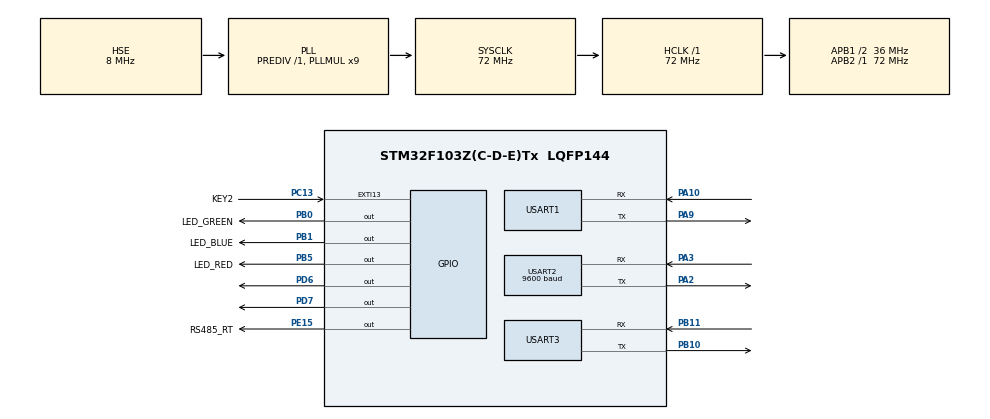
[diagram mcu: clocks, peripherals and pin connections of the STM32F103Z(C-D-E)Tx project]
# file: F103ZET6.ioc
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Mcu.Family=STM32F1
Mcu.Name=STM32F103Z(C-D-E)Tx
Mcu.Package=LQFP144
NVIC.PriorityGroup=NVIC_PRIORITYGROUP_2
NVIC.TIM7_IRQn=true\:1\:0\:true\:false\:true
NVIC.USART1_IRQn=true\:2\:1\:true\:false\:true
NVIC.USART2_IRQn=true\:1\:1\:true\:false\:true
NVIC.USART3_IRQn=true\:2\:1\:true\:false\:true
OSC_IN.Mode=HSE-External-Oscillator
OSC_IN.Signal=RCC_OSC_IN
OSC_OUT.Mode=HSE-External-Oscillator
OSC_OUT.Signal=RCC_OSC_OUT
PA10.Mode=Asynchronous
PA10.Signal=USART1_RX
PA13.Mode=Serial_Wire
PA13.Signal=SYS_JTMS-SWDIO
PA14.Mode=Serial_Wire
PA14.Signal=SYS_JTCK-SWCLK
PA2.Mode=Asynchronous
PA2.Signal=USART2_TX
PA3.Mode=Asynchronous
PA3.Signal=USART2_RX
PA9.Mode=Asynchronous
PA9.Signal=USART1_TX
PB0.GPIO_Label=LED_GREEN
PB0.GPIO_ModeDefaultOutputPP=GPIO_MODE_OUTPUT_PP
PB0.GPIO_Speed=GPIO_SPEED_FREQ_HIGH
PB0.PinState=GPIO_PIN_SET
PB0.Signal=GPIO_Output
PB1.GPIO_Label=LED_BLUE
PB1.GPIO_ModeDefaultOutputPP=GPIO_MODE_OUTPUT_PP
PB1.GPIO_Speed=GPIO_SPEED_FREQ_HIGH
PB1.PinState=GPIO_PIN_SET
PB1.Signal=GPIO_Output
PB10.Mode=Asynchronous
PB10.Signal=USART3_TX
PB11.Mode=Asynchronous
PB11.Signal=USART3_RX
PB5.GPIO_Label=LED_RED
PB5.GPIO_ModeDefaultOutputPP=GPIO_MODE_OUTPUT_PP
PB5.GPIO_Speed=GPIO_SPEED_FREQ_HIGH
PB5.PinState=GPIO_PIN_SET
PB5.Signal=GPIO_Output
PC13-TAMPER-RTC.GPIO_Label=KEY2
PC13-TAMPER-RTC.GPIO_ModeDefaultEXTI=GPIO_MODE_IT_FALLING
PC13-TAMPER-RTC.Signal=GPXTI13
PD6.GPIO_ModeDefaultOutputPP=GPIO_MODE_OUTPUT_OD
PD6.PinState=GPIO_PIN_SET
PD6.Signal=GPIO_Output
PD7.GPIO_ModeDefaultOutputPP=GPIO_MODE_OUTPUT_OD
PD7.PinState=GPIO_PIN_SET
PD7.Signal=GPIO_Output
PE15.GPIO_Label=RS485_RT
PE15.Signal=GPIO_Output
ProjectManager.HeapSize=0x800
ProjectManager.StackSize=0x1000
ProjectManager.TargetToolchain=MDK-ARM V5
RCC.AHBFreq_Value=72000000
RCC.APB1CLKDivider=RCC_HCLK_DIV2
RCC.APB1Freq_Value=36000000
RCC.APB1TimFreq_Value=72000000
RCC.APB2Freq_Value=72000000
RCC.APB2TimFreq_Value=72000000
RCC.HCLKFreq_Value=72000000
RCC.PLLMUL=RCC_PLL_MUL9
RCC.PLLSourceVirtual=RCC_PLLSOURCE_HSE
RCC.SYSCLKFreq_VALUE=72000000
RCC.SYSCLKSource=RCC_SYSCLKSOURCE_PLLCLK
RCC.USBFreq_Value=72000000
TIM7.Period=0
TIM7.Prescaler=3599
USART1.VirtualMode=VM_ASYNC
USART2.BaudRate=9600
USART2.VirtualMode=VM_ASYNC
USART3.VirtualMode=VM_ASYNC
VP_TIM7_VS_ClockSourceINT.Mode=Enable_Timer
board=F103ZET6

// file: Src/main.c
/**
  ******************************************************************************
  * File Name          : main.c
  * Description        : Main program body
  ******************************************************************************
  ** This notice applies to any and all portions of this file
  * that are not between comment pairs USER CODE BEGIN and
  * USER CODE END. Other portions of this file, whether
  * inserted by the user or by software development tools
  * are owned by their respective copyright owners.
  *
  * COPYRIGHT(c) 2017 STMicroelectronics
  *
  * Redistribution and use in source and binary forms, with or without modification,
  * are permitted provided that the following conditions are met:
  *   1. Redistributions of source code must retain the above copyright notice,
  *      this list of conditions and the following disclaimer.
  *   2. Redistributions in binary form must reproduce the above copyright notice,
  *      this list of conditions and the following disclaimer in the documentation
  *      and/or other materials provided with the distribution.
  *   3. Neither the name of STMicroelectronics nor the names of its contributors
  *      may be used to endorse or promote products derived from this software
  *      without specific prior written permission.
  *
  * THIS SOFTWARE IS PROVIDED BY THE COPYRIGHT HOLDERS AND CONTRIBUTORS "AS IS"
  * AND ANY EXPRESS OR IMPLIED WARRANTIES, INCLUDING, BUT NOT LIMITED TO, THE
  * IMPLIED WARRANTIES OF MERCHANTABILITY AND FITNESS FOR A PARTICULAR PURPOSE ARE
  * DISCLAIMED. IN NO EVENT SHALL THE COPYRIGHT HOLDER OR CONTRIBUTORS BE LIABLE
  * FOR ANY DIRECT, INDIRECT, INCIDENTAL, SPECIAL, EXEMPLARY, OR CONSEQUENTIAL
  * DAMAGES (INCLUDING, BUT NOT LIMITED TO, PROCUREMENT OF SUBSTITUTE GOODS OR
  * SERVICES; LOSS OF USE, DATA, OR PROFITS; OR BUSINESS INTERRUPTION) HOWEVER
  * CAUSED AND ON ANY THEORY OF LIABILITY, WHETHER IN CONTRACT, STRICT LIABILITY,
  * OR TORT (INCLUDING NEGLIGENCE OR OTHERWISE) ARISING IN ANY WAY OUT OF THE USE
  * OF THIS SOFTWARE, EVEN IF ADVISED OF THE POSSIBILITY OF SUCH DAMAGE.
  *
  ******************************************************************************
  */
#include "main.h"
#include "stm32f1xx_hal.h"
#include "tim.h"
#include "usart.h"
#include "gpio.h"

/* USER CODE BEGIN Includes */
#include "../Own/RS485.h"
/* USER CODE END Includes */

/* USER CODE BEGIN PV */
/* Private variables ---------------------------------------------------------*/
 uint8_t Usart1_Buffer;
 uint8_t Key_Number,i;
/* USER CODE END PV */

void SystemClock_Config(void);

/* USER CODE BEGIN PFP */
/* Private function prototypes -----------------------------------------------*/
extern void prvvTIMERExpiredISR( void );
/* USER CODE END PFP */

int main(void)
{

  /* MCU Configuration----------------------------------------------------------*/

  /* Reset of all peripherals, Initializes the Flash interface and the Systick. */
  HAL_Init();

  /* Configure the system clock */
  SystemClock_Config();

  /* Initialize all configured peripherals */
  MX_GPIO_Init();
  MX_USART1_UART_Init();
  MX_USART2_UART_Init();
  MX_TIM7_Init();
  MX_USART3_UART_Init();

  /* USER CODE BEGIN 2 */
      HAL_UART_Receive_IT(&huart2,&Usart1_Buffer,1);
      printf("freemodbus ��ֲ����\n");
      for(i=0;i<8;i++)
      {
        usRegInputBuf[i]=i*10;
          usRegHoldingBuf[i]=i*20;
      }
  /* USER CODE END 2 */

  /* Infinite loop */
  while (1)
  {

  /* USER CODE BEGIN 3 */

    eMBErrorCode    eStatus;

    eStatus = eMBInit( MB_RTU, 1, 1, 9600, MB_PAR_NONE);

    /* Enable the Modbus Protocol Stack. */
    eStatus = eMBEnable(  );

    for( ;; )
    {
        ( void )eMBPoll(  );

        /* Here we simply count the number of poll cycles. */
        usRegInputBuf[0]++;
    }
  }
  /* USER CODE END 3 */

}

/** System Clock Configuration
*/
void SystemClock_Config(void)
{

  RCC_OscInitTypeDef RCC_OscInitStruct;
  RCC_ClkInitTypeDef RCC_ClkInitStruct;

    /**Initializes the CPU, AHB and APB busses clocks
    */
  RCC_OscInitStruct.OscillatorType = RCC_OSCILLATORTYPE_HSE;
  RCC_OscInitStruct.HSEState = RCC_HSE_ON;
  RCC_OscInitStruct.HSEPredivValue = RCC_HSE_PREDIV_DIV1;
  RCC_OscInitStruct.HSIState = RCC_HSI_ON;
  RCC_OscInitStruct.PLL.PLLState = RCC_PLL_ON;
  RCC_OscInitStruct.PLL.PLLSource = RCC_PLLSOURCE_HSE;
  RCC_OscInitStruct.PLL.PLLMUL = RCC_PLL_MUL9;
  if (HAL_RCC_OscConfig(&RCC_OscInitStruct) != HAL_OK)
  {
    _Error_Handler(__FILE__, __LINE__);
  }

    /**Initializes the CPU, AHB and APB busses clocks
    */
  RCC_ClkInitStruct.ClockType = RCC_CLOCKTYPE_HCLK|RCC_CLOCKTYPE_SYSCLK
                              |RCC_CLOCKTYPE_PCLK1|RCC_CLOCKTYPE_PCLK2;
  RCC_ClkInitStruct.SYSCLKSource = RCC_SYSCLKSOURCE_PLLCLK;
  RCC_ClkInitStruct.AHBCLKDivider = RCC_SYSCLK_DIV1;
  RCC_ClkInitStruct.APB1CLKDivider = RCC_HCLK_DIV2;
  RCC_ClkInitStruct.APB2CLKDivider = RCC_HCLK_DIV1;

  if (HAL_RCC_ClockConfig(&RCC_ClkInitStruct, FLASH_LATENCY_2) != HAL_OK)
  {
    _Error_Handler(__FILE__, __LINE__);
  }

    /**Configure the Systick interrupt time
    */
  HAL_SYSTICK_Config(HAL_RCC_GetHCLKFreq()/1000);

    /**Configure the Systick
    */
  HAL_SYSTICK_CLKSourceConfig(SYSTICK_CLKSOURCE_HCLK);

  /* SysTick_IRQn interrupt configuration */
  HAL_NVIC_SetPriority(SysTick_IRQn, 0, 0);
}

/* USER CODE BEGIN 4 */

void HAL_UART_RxCpltCallback(UART_HandleTypeDef *huart)
{
    if(huart->Instance==USART2)
    {
      HAL_UART_Transmit(&huart2,&Usart1_Buffer,1,1);
      HAL_UART_Receive_IT(&huart2,&Usart1_Buffer,1);
    }
}

#ifdef __cplusplus
 extern "C" {
#endif
 int fputc(int ch, FILE *f)
{
          HAL_UART_Transmit(&huart2, (uint8_t *)&ch, 1, 0xffff);
          return ch;
 }

 int fgetc(FILE * f)
{
          uint8_t ch = 0;
          HAL_UART_Receive(&huart2,&ch, 1, 0xffff);
					return ch;
 }
#ifdef __cplusplus
}
#endif
/* USER CODE END 4 */

void _Error_Handler(char * file, int line)
{
  while(1)
  {
  }
}

/************************ (C) COPYRIGHT STMicroelectronics *****END OF FILE****/
